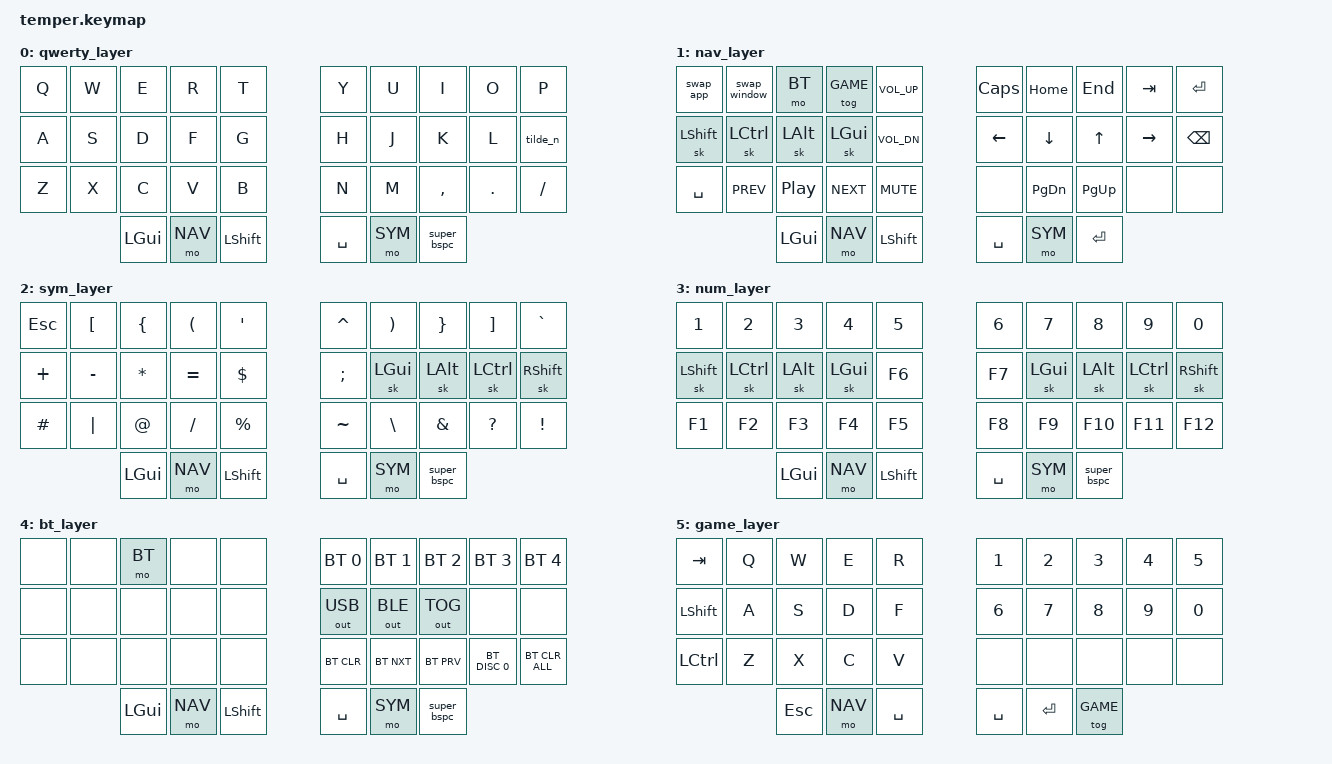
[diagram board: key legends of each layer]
/*
 * Copyright (c) 2020 The ZMK Contributors
 *
 * SPDX-License-Identifier: MIT
 */

#include <behaviors.dtsi>
#include <dt-bindings/zmk/keys.h>
#include <dt-bindings/zmk/bt.h>
#include <dt-bindings/zmk/outputs.h>

#define QWERTY 0
#define NAV 1
#define SYM 2
#define NUM 3
#define BT 4
#define GAME 5

/ {
    conditional_layers {
        compatible = "zmk,conditional-layers";

        tri_layer {
            if-layers = <NAV SYM>;
            then-layer = <NUM>;
        };
    };

    macros {
        tilde_n: tilde_n {
            compatible = "zmk,behavior-macro";
            #binding-cells = <0>;
            bindings = <&macro_tap>, <&kp TILDE &kp N>;
        };

        swap_app: swap_app {
            compatible = "zmk,behavior-macro";
            #binding-cells = <0>;
            bindings =
                <&macro_press>,
                <&kp LGUI>,
                <&macro_tap>,
                <&kp TAB>,
                <&macro_pause_for_release>,
                <&macro_release>,
                <&kp LGUI>;
        };

        swap_window: swap_window {
            compatible = "zmk,behavior-macro";
            #binding-cells = <0>;
            bindings =
                <&macro_press>,
                <&kp LGUI>,
                <&macro_tap>,
                <&kp GRAVE>,
                <&macro_release>,
                <&kp LGUI>;
        };
    };

    behaviors {
        super_bspc: super_backspace {
            compatible = "zmk,behavior-mod-morph";
            #binding-cells = <0>;
            bindings = <&kp BACKSPACE>, <&kp LA(BACKSPACE)>;

            mods = <(MOD_LSFT|MOD_RSFT)>;
        };
    };

    keymap {
        compatible = "zmk,keymap";

        qwerty_layer {
            bindings = <
&kp Q  &kp W  &kp E     &kp R    &kp T        &kp Y      &kp U    &kp I        &kp O    &kp P
&kp A  &kp S  &kp D     &kp F    &kp G        &kp H      &kp J    &kp K        &kp L    &tilde_n
&kp Z  &kp X  &kp C     &kp V    &kp B        &kp N      &kp M    &kp COMMA    &kp DOT  &kp FSLH
              &kp LGUI  &mo NAV  &kp LSHFT    &kp SPACE  &mo SYM  &super_bspc
            >;
        };

        nav_layer {
            bindings = <
&swap_app  &swap_window  &mo BT            &tog GAME   &kp C_VOL_UP    &kp CAPSLOCK  &kp HOME   &kp END      &kp TAB    &kp RET
&sk LSHFT  &sk LCTRL     &sk LALT          &sk LGUI    &kp C_VOL_DN    &kp LEFT      &kp DOWN   &kp UP       &kp RIGHT  &kp BSPC
&kp SPACE  &kp C_PREV    &kp C_PLAY_PAUSE  &kp C_NEXT  &kp C_MUTE      &none         &kp PG_DN  &kp PG_UP    &none      &none
                         &kp LGUI          &mo NAV     &kp LSHFT       &kp SPACE     &mo SYM    &kp RET
            >;
        };

        sym_layer {
            bindings = <
&kp ESC   &kp LBKT   &kp LBRC  &kp LPAR   &kp APOS       &kp CARET  &kp RPAR  &kp RBRC     &kp RBKT   &kp GRAVE
&kp PLUS  &kp MINUS  &kp STAR  &kp EQUAL  &kp DLLR       &kp SEMI   &sk LGUI  &sk LALT     &sk LCTRL  &sk RSHFT
&kp HASH  &kp PIPE   &kp AT    &kp FSLH   &kp PERCENT    &kp TILDE  &kp BSLH  &kp AMPS     &kp QMARK  &kp EXCL
                     &kp LGUI  &mo NAV    &kp LSHFT      &kp SPACE  &mo SYM   &super_bspc
            >;
        };

        num_layer {
            bindings = <
&kp N1     &kp N2     &kp N3    &kp N4    &kp N5       &kp N6     &kp N7    &kp N8       &kp N9     &kp N0
&sk LSHFT  &sk LCTRL  &sk LALT  &sk LGUI  &kp F6       &kp F7     &sk LGUI  &sk LALT     &sk LCTRL  &sk RSHFT
&kp F1     &kp F2     &kp F3    &kp F4    &kp F5       &kp F8     &kp F9    &kp F10      &kp F11    &kp F12
                      &kp LGUI  &mo NAV   &kp LSHFT    &kp SPACE  &mo SYM   &super_bspc
            >;
        };

        bt_layer {
            bindings = <
&none  &none  &mo BT &none  &none    &bt BT_SEL 0  &bt BT_SEL 1  &bt BT_SEL 2  &bt BT_SEL 3  &bt BT_SEL 4
&none  &none  &none  &none  &none    &out OUT_USB  &out OUT_BLE  &out OUT_TOG  &none         &none
&none  &none  &none  &none  &none    &bt BT_CLR    &bt BT_NXT    &bt BT_PRV    &bt BT_DISC 0 &bt BT_CLR_ALL
              &kp LGUI      &mo NAV       &kp LSHFT       &kp SPACE  &mo SYM  &super_bspc
            >;
        };

        game_layer {
            bindings = <
&kp TAB    &kp Q  &kp W  &kp E    &kp R        &kp N1     &kp N2  &kp N3  &kp N4  &kp N5
&kp LSHFT  &kp A  &kp S  &kp D    &kp F        &kp N6     &kp N7  &kp N8  &kp N9  &kp N0
&kp LCTRL  &kp Z  &kp X  &kp C    &kp V        &none      &none   &none   &none   &none
                  &kp ESC  &mo NAV  &kp SPACE    &kp SPACE  &kp ENTER   &tog GAME
            >;
        };
    };
};
